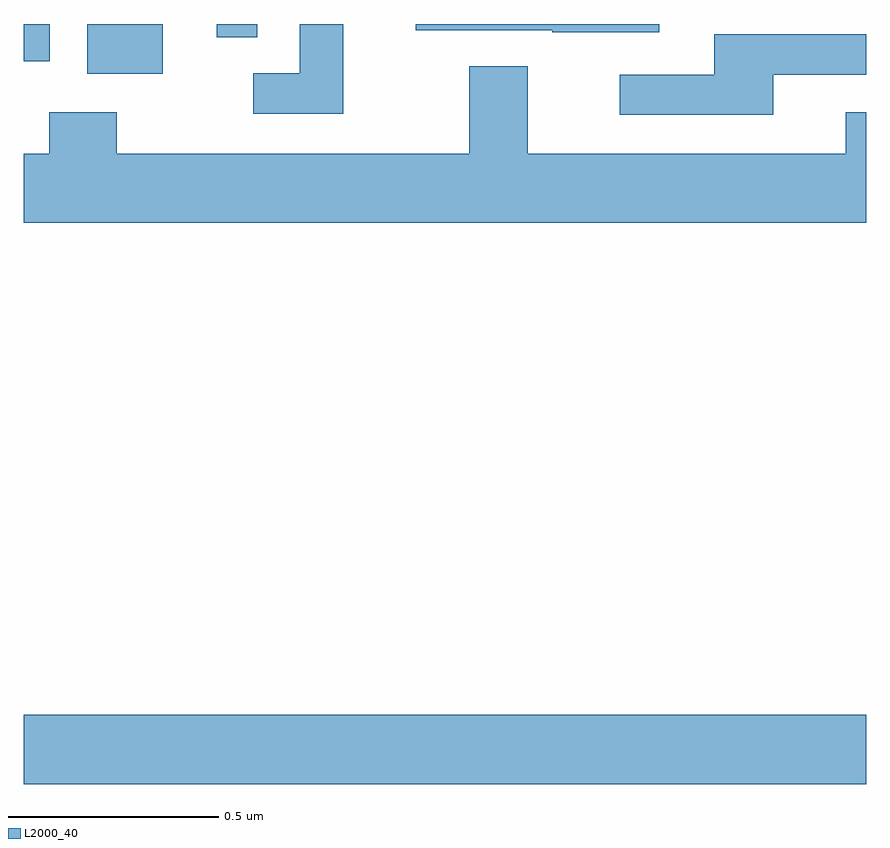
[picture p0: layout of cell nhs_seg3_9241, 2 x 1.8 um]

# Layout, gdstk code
import gdstk
lib = gdstk.Library(unit=1e-6, precision=1e-09)
def R(c, l, rs):  # rectangles x0, y0, x1, y1
    for r in rs: c.add(gdstk.rectangle(r[:2], r[2:], *l))
def P(c, l, *ps):  # polygons
    for p in ps: c.add(gdstk.Polygon(p, *l))
L2000_40 = (2000, 40)

nhs_seg3_9241 = lib.new_cell('nhs_seg3_9241')
R(nhs_seg3_9241, L2000_40, [(226,687.596,228,687.76), (226.151,689.282,226.33,689.4), (226,689.311,226.062,689.4), (226.458,689.368,226.554,689.4)])
P(nhs_seg3_9241, L2000_40, [(227.509,689.4),(226.931,689.4),(226.931,689.385),(227.255,689.385),(227.255,689.381),(227.509,689.381)],
  [(226.759,689.4),(226.655,689.4),(226.655,689.283),(226.545,689.283),(226.545,689.187),(226.759,689.187)],
  [(227.779,689.28),(228,689.28),(228,689.376),(227.639,689.376),(227.639,689.28),(227.415,689.28),(227.415,689.184),(227.779,689.184)],
  [(228,689.191),(227.951,689.191),(227.951,689.092),(227.197,689.092),(227.197,689.3),(227.057,689.3),(227.057,689.092),(226.221,689.092),(226.221,689.191),(226.061,689.191),(226.061,689.092),(226,689.092),(226,688.928),(228,688.928)])

lib.write_gds('nhs_seg3_9241.gds')
